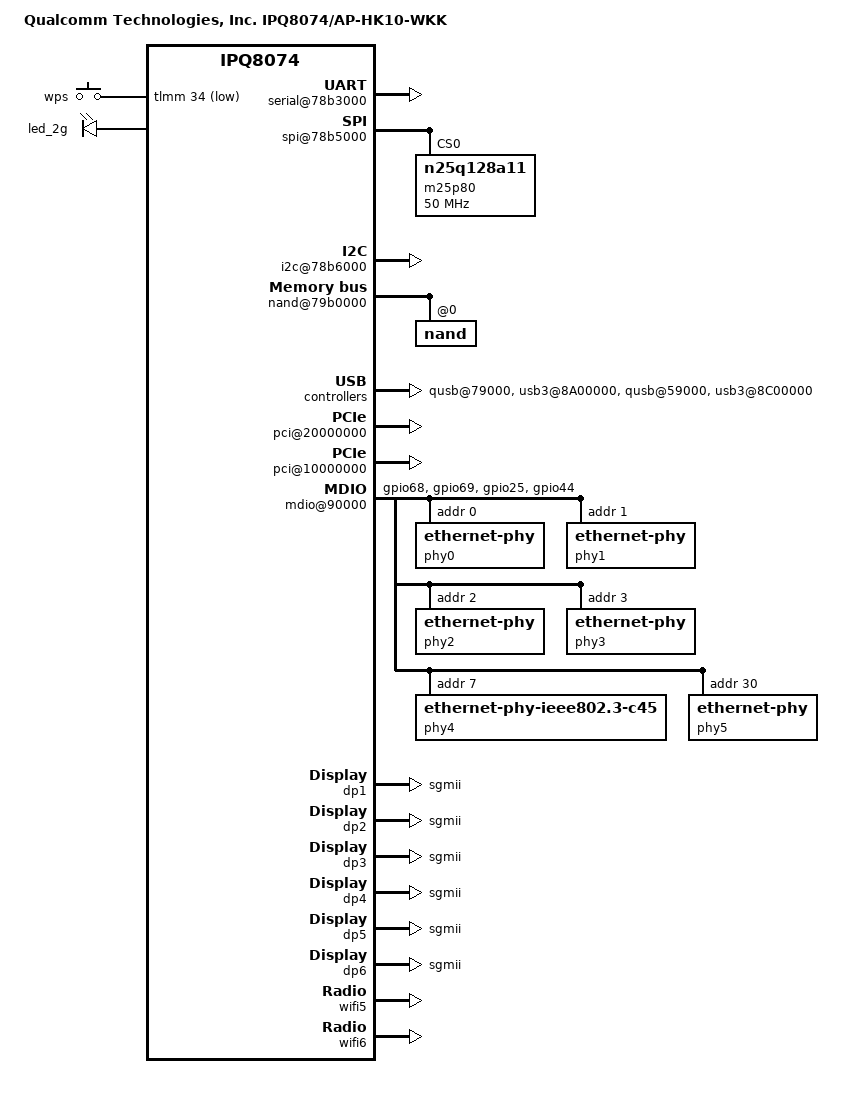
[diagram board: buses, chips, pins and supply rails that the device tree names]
// SPDX-License-Identifier: GPL-2.0-only
/dts-v1/;
/* Copyright (c) 2020-2021 The Linux Foundation. All rights reserved.
 */
#include "ipq8074.dtsi"
#include "ipq8074-hk-cpu.dtsi"

/* Internal radio is not enabled on hk10.c2, so delete the
 * references to internal radio's reserved memory
 */
#if !defined(__IPQ_MEM_PROFILE_256_MB__)
&tmc_etr {
	/delete-property/ memory-region;
};

&q6v5_wcss {
	/delete-property/ memory-region;
};
#endif

/ {
	#address-cells = <0x2>;
	#size-cells = <0x2>;
	model = "Qualcomm Technologies, Inc. IPQ8074/AP-HK10-WKK";
	compatible = "qcom,ipq8074-ap-hk10-wkk", "qcom,ipq8074-ap-hk10", "qcom,ipq8074";
	qcom,msm-id = <0x143 0x0>, <0x186 0x0>;
	interrupt-parent = <&intc>;

	aliases {
		serial0 = &blsp1_uart5;
		/* Aliases as required by u-boot to patch MAC addresses */
		ethernet0 = "/soc/dp1";
		ethernet1 = "/soc/dp2";
		ethernet2 = "/soc/dp3";
		ethernet3 = "/soc/dp4";
		ethernet4 = "/soc/dp5";
		ethernet5 = "/soc/dp6";
	};

	chosen {
		stdout-path = "serial0";
	};

	reserved-memory {
/* No Wkk attach in 256M profile */
#if !defined(__IPQ_MEM_PROFILE_256_MB__)
#ifdef __IPQ_MEM_PROFILE_512_MB__
	/*                      512 MB Profile
	 * +========+==============+=========================+
	 * | Region | Start Offset |          Size           |
	 * +--------+--------------+-------------------------+
	 * |  NSS   |  0x40000000  |          16MB           |
	 * +--------+--------------+-------------------------+
	 * | Linux  |  0x41000000  | Depends on total memory |
	 * +--------+--------------+-------------------------+
	 * | TZ APP |  0x4A400000  |           1MB           |
	 * +--------+--------------+-------------------------+
	 * | uboot  |  0x4A600000  |           4MB           |
	 * +--------+--------------+-------------------------+
	 * |  SBL   |  0x4AA00000  |           1MB           |
	 * +--------+--------------+-------------------------+
	 * |  smem  |  0x4AB00000  |           1MB           |
	 * +--------+--------------+-------------------------+
	 * |   TZ   |  0x4AC00000  |           4MB           |
	 * +--------+--------------+-------------------------+
	 * |  Wkk0  |  0x4B000000  |          30MB           |
	 * +--------+--------------+-------------------------+
	 * |  Wkk1  |  0x4CE00000  |          30MB           |
	 * +--------+--------------+-------------------------+
	 * |  MHI0  |  0x4EC00000  |          18MB           |
	 * +--------+--------------+-------------------------+
	 * |  MHI1  |  0x4FE00000  |          18MB           |
	 * +--------+--------------+-------------------------+
	 * |  MLO   |  0x51000000  |          16MB           |
	 * +--------+--------------+-------------------------+
	 * |                                                 |
	 * |      Rest of the memory for Linux               |
	 * |                                                 |
	 * +=================================================+
	 */
		/delete-node/ wcnss@4b000000;
		/delete-node/ q6_etr_dump@4e700000;
		/delete-node/ m3_dump@4e800000;
		qcn9000_pcie0: qcn9000_pcie0@4b000000 {
			no-map;
			reg = <0x0 0x4B000000 0x0 0x01E00000>;
		};

		qcn9000_pcie1: qcn9000_pcie1@4ce00000 {
			no-map;
			reg = <0x0 0x4CE00000 0x0 0x01E00000>;
		};

		mhi_region0: dma_pool0@4ec00000 {
			compatible = "shared-dma-pool";
			no-map;
			reg = <0x0 0x4EC00000 0x0 0x01200000>;
		};

		mhi_region1: dma_pool1@4fe00000 {
			compatible = "shared-dma-pool";
			no-map;
			reg = <0x0 0x4FE00000 0x0 0x01200000>;
		};
		mlo_global_mem: mlo_global_mem0@51000000 {
			no-map;
			reg = <0x0 0x51000000 0x0 0x1000000>;
		};
#else
	/*                   Default Profile
	 * +========+==============+=========================+
	 * | Region | Start Offset |          Size           |
	 * +--------+--------------+-------------------------+
	 * |  NSS   |  0x40000000  |          16MB           |
	 * +--------+--------------+-------------------------+
	 * | Linux  |  0x41000000  | Depends on total memory |
	 * +--------+--------------+-------------------------+
	 * | TZ APP |  0x4A400000  |           2MB           |
	 * +--------+--------------+-------------------------+
	 * | uboot  |  0x4A600000  |           4MB           |
	 * +--------+--------------+-------------------------+
	 * |  SBL   |  0x4AA00000  |           1MB           |
	 * +--------+--------------+-------------------------+
	 * |  smem  |  0x4AB00000  |           1MB           |
	 * +--------+--------------+-------------------------+
	 * |   TZ   |  0x4AC00000  |           4MB           |
	 * +--------+--------------+-------------------------+
	 * |  Wkk0  |  0x4B000000  |          58MB           |
	 * +--------+--------------+-------------------------+
	 * |  Wkk1  |  0x4EA00000  |          58MB           |
	 * +--------+--------------+-------------------------+
	 * |  MHI0  |  0x52400000  |          26MB           |
	 * +--------+--------------+-------------------------+
	 * |  MHI1  |  0x53E00000  |          26MB           |
	 * +--------+--------------+-------------------------+
	 * |  MLO   |   Dynamic    |          17MB           |
	 * +--------+--------------+-------------------------+
	 * |                                                 |
	 * |      Rest of the memory for Linux               |
	 * |                                                 |
	 * +=================================================+
	 */
		/delete-node/ wcnss@4b000000;
		/delete-node/ q6_etr_dump@50f00000;
		/delete-node/ m3_dump@51000000;
		qcn9000_pcie0: qcn9000_pcie0@4b000000 {
			no-map;
			reg = <0x0 0x4b000000 0x0 0x03A00000>;
		};

		qcn9000_pcie1: qcn9000_pcie1@4ea00000 {
			no-map;
			reg = <0x0 0x4EA00000 0x0 0x03A00000>;
		};

		mhi_region0: dma_pool0@52400000 {
			compatible = "shared-dma-pool";
			no-map;
			reg = <0x0 0x52400000 0x0 0x01A00000>;
		};

		mhi_region1: dma_pool1@53e00000 {
			compatible = "shared-dma-pool";
			no-map;
			reg = <0x0 0x53E00000 0x0 0x01A00000>;
		};
		mlo_global_mem0: mlo_global_mem_0@0 {
			no-map;
			size = <0x0 0x1100000>;
		};
#endif
#endif
	};

	soc {
		pinctrl@1000000 {
			button_pins: button_pins {
				wps_button {
					pins = "gpio34";
					function = "gpio";
					drive-strength = <8>;
					bias-pull-up;
				};
			};

			usb_mux_sel_pins: usb_mux_pins {
				mux {
					pins = "gpio27";
					function = "gpio";
					drive-strength = <8>;
					bias-pull-down;
				};
			};

			pcie0_pins: pcie_pins {
				pcie0_rst {
					pins = "gpio58";
					function = "pcie0_rst";
					drive-strength = <8>;
					bias-pull-down;
				};
				pcie0_wake {
					pins = "gpio59";
					function = "pcie0_wake";
					drive-strength = <8>;
					bias-pull-down;
				};
			};

			mdio_pins: mdio_pinmux {
				mux_0 {
					pins = "gpio68";
					function = "mdc";
					drive-strength = <8>;
					bias-pull-up;
				};
				mux_1 {
					pins = "gpio69";
					function = "mdio";
					drive-strength = <8>;
					bias-pull-up;
				};
				mux_2 {
					pins = "gpio25";
					function = "gpio";
					bias-pull-up;
				};
				mux_3 {
					pins = "gpio44";
					function = "gpio";
					bias-pull-up;
				};
			};

			uniphy_pins: uniphy_pinmux {
				mux1 {
					pins = "gpio27";
					function = "gpio";
					drive-strength = <16>;
					output-high;
					bias-pull-up;
				};
				mux2 {
					pins = "gpio60";
					function = "rx2";
					bias-disable;
				};
				sfp_tx {
					pins = "gpio59";
					function = "gpio";
					drive-strength = <8>;
					bias-pull-down;
					output-low;
				};
			};

			led_pins: led_pins {
				led_2g {
					pins = "gpio18";
					function = "gpio";
					drive-strength = <8>;
					bias-pull-down;
				};
			};
		};

		serial@78b3000 {
			status = "ok";
		};

		spi@78b5000 {
			status = "ok";
			pinctrl-0 = <&spi_0_pins>;
			pinctrl-names = "default";
			cs-select = <0>;

			m25p80@0 {
				  compatible = "n25q128a11";
				  #address-cells = <1>;
				  #size-cells = <1>;
				  reg = <0>;
				  spi-max-frequency = <50000000>;
			};
		};

		dma@7984000 {
			 status = "ok";
		};

		i2c@78b6000 {
			status = "ok";
		};

		nand@79b0000 {
			status = "ok";

			nand@0 {
				reg = <0>;
				#address-cells = <1>;
				#size-cells = <1>;

				nand-ecc-strength = <4>;
				nand-ecc-step-size = <512>;
				nand-bus-width = <8>;
			};
		};

		qusb@79000 {
			status = "ok";
		};

		ssphy@78000 {
			status = "ok";
		};

		usb3@8A00000 {
			status = "ok";
		};

		qusb@59000 {
			status = "ok";
		};

		ssphy@58000 {
			status = "ok";
		};

		usb3@8C00000 {
			status = "ok";
		};

		qcom,test@0 {
			status = "ok";
		};

		phy@84000 {
			status = "ok";
		};

		phy@86000 {
			status = "ok";
		};

		pci@20000000 {
			perst-gpio = <&tlmm 58 1>;
			status = "ok";
			link_retries_count = <400>;

			pcie0_rp {
				reg = <0 0 0 0 0>;

				qcom,mhi@0 {
					reg = <0 0 0 0 0>;
					qrtr_node_id = <0x30>;
#if !defined(__IPQ_MEM_PROFILE_256_MB__)
					memory-region = <0>,<&mhi_region0>;
#endif
				};
			};
		};

		phy@8e000 {
			status = "ok";
		};

		pci@10000000 {
			perst-gpio = <&tlmm 61 0x1>;
			status = "ok";
			link_retries_count = <400>;

			pcie1_rp {
				reg = <0 0 0 0 0>;

				qcom,mhi@1 {
					reg = <0 0 0 0 0>;
					qrtr_node_id = <0x31>;
#if !defined(__IPQ_MEM_PROFILE_256_MB__)
					memory-region = <0>,<&mhi_region1>;
#endif
				};
			};
		};

		mdio@90000 {
			pinctrl-0 = <&mdio_pins>;
			pinctrl-names = "default";
			phy-reset-gpio = <&tlmm 37 0>;
			phy0: ethernet-phy@0 {
				reg = <0>;
			};
			phy1: ethernet-phy@1 {
				reg = <1>;
			};
			phy2: ethernet-phy@2 {
				reg = <2>;
			};
			phy3: ethernet-phy@3 {
				reg = <3>;
			};
			phy4: ethernet-phy@4 {
				compatible ="ethernet-phy-ieee802.3-c45";
				reg = <7>;
			};
			phy5: ethernet-phy@5 {
				reg = <30>;
			};
		};

		ess-switch@3a000000 {
			pinctrl-0 = <&uniphy_pins>;
			pinctrl-names = "default";
			switch_cpu_bmp = <0x1>;  /* cpu port bitmap */
			switch_lan_bmp = <0x3e>; /* lan port bitmap */
			switch_wan_bmp = <0x40>; /* wan port bitmap */
			switch_mac_mode = <0x0>; /* mac mode for uniphy instance0*/
			switch_mac_mode1 = <0xd>; /* mac mode for uniphy instance1*/
			switch_mac_mode2 = <0xe>; /* mac mode for uniphy instance2*/
			bm_tick_mode = <0>; /* bm tick mode */
			tm_tick_mode = <0>; /* tm tick mode */
			cmnblk_clk = "external_50MHz";
			qcom,port_phyinfo {
				port@0 {
					port_id = <1>;
					phy_address = <0>;
				};
				port@1 {
					port_id = <2>;
					phy_address = <1>;
				};
				port@2 {
					port_id = <3>;
					phy_address = <2>;
				};
				port@3 {
					port_id = <4>;
					phy_address = <3>;
				};
				port@4 {
					port_id = <5>;
					phy_address = <7>;
					ethernet-phy-ieee802.3-c45;
				};
				port@5 {
					port_id = <6>;
					phy_address = <30>;
					phy_i2c_address = <30>;
					phy-i2c-mode; /*i2c access phy */
				};
			};
		};
		gpio_keys {
			compatible = "gpio-keys";
			pinctrl-0 = <&button_pins>;
			pinctrl-names = "default";
			status = "ok";

			button@1 {
				label = "wps";
				linux,code = <KEY_WPS_BUTTON>;
				gpios = <&tlmm 34 GPIO_ACTIVE_LOW>;
				linux,input-type = <1>;
				debounce-interval = <60>;
			};
		};

		leds {
			compatible = "gpio-leds";
			pinctrl-0 = <&led_pins>;
			pinctrl-names = "default";

			led_2g {
				label = "led_2g";
				gpio = <&tlmm 18 GPIO_ACTIVE_HIGH>;
				default-state = "off";
			};
		};

		dp1 {
			device_type = "network";
			compatible = "qcom,nss-dp";
			qcom,id = <1>;
			reg = <0x3a001000 0x200>;
			qcom,mactype = <0>;
			local-mac-address = [000000000000];
			qcom,link-poll = <1>;
			qcom,phy-mdio-addr = <0>;
			phy-mode = "sgmii";
		};

		dp2 {
			device_type = "network";
			compatible = "qcom,nss-dp";
			qcom,id = <2>;
			reg = <0x3a001200 0x200>;
			qcom,mactype = <0>;
			local-mac-address = [000000000000];
			qcom,link-poll = <1>;
			qcom,phy-mdio-addr = <1>;
			phy-mode = "sgmii";
		};

		dp3 {
			device_type = "network";
			compatible = "qcom,nss-dp";
			qcom,id = <3>;
			reg = <0x3a001400 0x200>;
			qcom,mactype = <0>;
			local-mac-address = [000000000000];
			qcom,link-poll = <1>;
			qcom,phy-mdio-addr = <2>;
			phy-mode = "sgmii";
		};

		dp4 {
			device_type = "network";
			compatible = "qcom,nss-dp";
			qcom,id = <4>;
			reg = <0x3a001600 0x200>;
			qcom,mactype = <0>;
			local-mac-address = [000000000000];
			qcom,link-poll = <1>;
			qcom,phy-mdio-addr = <3>;
			phy-mode = "sgmii";
		};

		dp5 {
			device_type = "network";
			compatible = "qcom,nss-dp";
			qcom,id = <5>;
			reg = <0x3a003000 0x3fff>;
			qcom,mactype = <1>;
			local-mac-address = [000000000000];
			qcom,link-poll = <1>;
			qcom,phy-mdio-addr = <7>;
			phy-mode = "sgmii";
		};

		dp6 {
			device_type = "network";
			compatible = "qcom,nss-dp";
			qcom,id = <6>;
			reg = <0x3a007000 0x3fff>;
			qcom,mactype = <1>;
			local-mac-address = [000000000000];
			qcom,link-poll = <1>;
			qcom,phy-mdio-addr = <30>;
			phy-mode = "sgmii";
		};
	};
};

&wifi0 {
	/delete-property/ mem-region;
	status = "disabled";
};

&wifi1 {
#if defined (__CNSS2__)
	/delete-property/ mem-region;
#else
	/delete-property/ memory-region;
#endif
	status = "disabled";
};


#if !defined(__IPQ_MEM_PROFILE_256_MB__)
&wifi5 {
#ifdef __IPQ_MEM_PROFILE_512_MB__
      /* QCN9224 tgt-mem-mode=1 layout - 30MB
       * +=========+==============+=========+
       * |  Region | Start Offset |   Size  |
       * +---------+--------------+---------+
       * | HREMOTE |  0x4B000000  |   20MB  |
       * +---------+--------------+---------+
       * | M3 Dump |  0x4C400000  |   1MB   |
       * +---------+--------------+---------+
       * |   ETR   |  0x4C500000  |   1MB   |
       * +---------+--------------+---------+
       * |  Caldb  |  0x4C600000  |   8MB   |
       * +==================================+
       */
	base-addr = <0x4B000000>;
	m3-dump-addr = <0x4C400000>;
	etr-addr = <0x4C500000>;
	caldb-addr = <0x4C600000>;
	hremote-size = <0x1400000>;
	tgt-mem-mode = <0x1>;
#else
      /* QCN9224 tgt-mem-mode=0 layout - 58MB
       * +=========+==============+=========+
       * |  Region | Start Offset |   Size  |
       * +---------+--------------+---------+
       * | HREMOTE |  0x4B000000  |   36MB  |
       * +---------+--------------+---------+
       * | M3 Dump |  0x4D400000  |   1MB   |
       * +---------+--------------+---------+
       * |   ETR   |  0x4D500000  |   1MB   |
       * +---------+--------------+---------+
       * |  Caldb  |  0x4D600000  |   8MB   |
       * +---------+--------------+---------+
       * |Pageable |  0x4DE00000  |  12MB   |
       * +==================================+
       */
	base-addr = <0x4B000000>;
	m3-dump-addr = <0x4D400000>;
	etr-addr = <0x4D500000>;
	caldb-addr = <0x4D600000>;
	pageable-addr = <0x4DE00000>;
	hremote-size = <0x2400000>;
	pageable-size = <0xC00000>;
	tgt-mem-mode = <0x0>;
#endif
	caldb-size = <0x800000>;
	hremote_node = <&qcn9000_pcie0>;
	status = "ok";
};

&wifi6 {
#ifdef __IPQ_MEM_PROFILE_512_MB__
      /* QCN9224 tgt-mem-mode=1 layout - 30MB
       * +=========+==============+=========+
       * |  Region | Start Offset |   Size  |
       * +---------+--------------+---------+
       * | HREMOTE |  0x4CE00000  |   20MB  |
       * +---------+--------------+---------+
       * | M3 Dump |  0x4E200000  |   1MB   |
       * +---------+--------------+---------+
       * |   ETR   |  0x4E300000  |   1MB   |
       * +---------+--------------+---------+
       * |  Caldb  |  0x4E400000  |   8MB   |
       * +==================================+
       */
	base-addr = <0x4CE00000>;
	m3-dump-addr = <0x4E200000>;
	etr-addr = <0x4E300000>;
	caldb-addr = <0x4E400000>;
	hremote-size = <0x1400000>;
	tgt-mem-mode = <0x1>;
#else
      /* QCN9224 tgt-mem-mode=0 layout - 58MB
       * +=========+==============+=========+
       * |  Region | Start Offset |   Size  |
       * +---------+--------------+---------+
       * | HREMOTE |  0x4EA00000  |   36MB  |
       * +---------+--------------+---------+
       * | M3 Dump |  0x50E00000  |   1MB   |
       * +---------+--------------+---------+
       * |   ETR   |  0x50F00000  |   1MB   |
       * +---------+--------------+---------+
       * |  Caldb  |  0x51000000  |   8MB   |
       * +---------+--------------+---------+
       * |Pageable |  0x51800000  |  12MB   |
       * +==================================+
       */
	base-addr = <0x4EA00000>;
	m3-dump-addr = <0x50E00000>;
	etr-addr = <0x50F00000>;
	caldb-addr = <0x51000000>;
	pageable-addr = <0x51800000>;
	hremote-size = <0x2400000>;
	pageable-size = <0xC00000>;
	tgt-mem-mode = <0x0>;
#endif
	caldb-size = <0x800000>;
	hremote_node = <&qcn9000_pcie1>;
	status = "ok";
};
#endif
